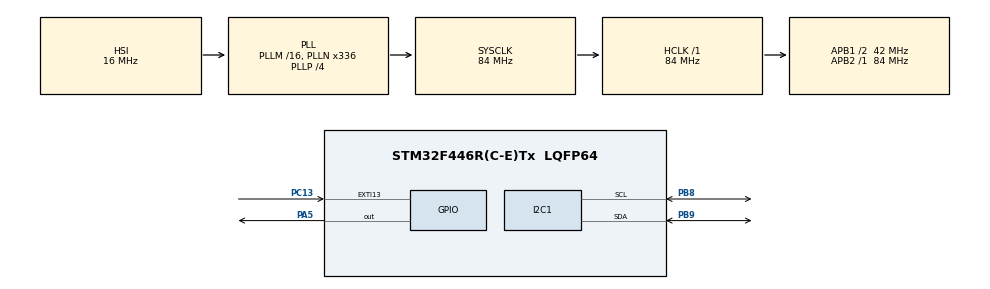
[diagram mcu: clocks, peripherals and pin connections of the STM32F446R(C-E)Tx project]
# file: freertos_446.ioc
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FREERTOS.Tasks01=defaultTask,24,128,StartDefaultTask,Default,NULL,Dynamic,NULL,NULL
Mcu.Family=STM32F4
Mcu.Name=STM32F446R(C-E)Tx
Mcu.Package=LQFP64
NUCLEO-F446RE.BUTTON=1
NUCLEO-F446RE.LD1=true
NVIC.EXTI15_10_IRQn=true\:5\:0\:false\:false\:true\:true\:false\:true\:true
NVIC.PriorityGroup=NVIC_PRIORITYGROUP_4
NVIC.TIM6_DAC_IRQn=true\:15\:0\:false\:false\:true\:false\:false\:true\:true
NVIC.TimeBase=TIM6_DAC_IRQn
NVIC.TimeBaseIP=TIM6
PA13.GPIO_Label=TMS
PA13.Signal=SYS_JTMS-SWDIO
PA14.GPIO_Label=TCK
PA14.Signal=SYS_JTCK-SWCLK
PA2.GPIO_Label=USART_TX
PA2.Signal=USART2_TX
PA3.GPIO_Label=USART_RX
PA3.Signal=USART2_RX
PA5.Signal=GPIO_Output
PB3.GPIO_Label=SWO
PB3.Signal=SYS_JTDO-SWO
PB8.Mode=I2C
PB8.Signal=I2C1_SCL
PB9.Mode=I2C
PB9.Signal=I2C1_SDA
PC13.Signal=GPXTI13
PC14-OSC32_IN.Signal=RCC_OSC32_IN
PC15-OSC32_OUT.Signal=RCC_OSC32_OUT
PH0-OSC_IN.Signal=RCC_OSC_IN
PH1-OSC_OUT.Signal=RCC_OSC_OUT
ProjectManager.HeapSize=0x200
ProjectManager.StackSize=0x400
ProjectManager.TargetToolchain=Makefile
RCC.AHBFreq_Value=84000000
RCC.APB1CLKDivider=RCC_HCLK_DIV2
RCC.APB1Freq_Value=42000000
RCC.APB1TimFreq_Value=84000000
RCC.APB2Freq_Value=84000000
RCC.APB2TimFreq_Value=84000000
RCC.CortexFreq_Value=84000000
RCC.FLatency-AdvancedSettings=FLASH_LATENCY_2
RCC.HCLKFreq_Value=84000000
RCC.HSE_VALUE=8000000
RCC.HSI_VALUE=16000000
RCC.LSE_VALUE=32768
RCC.PLLN=336
RCC.PLLP=RCC_PLLP_DIV4
RCC.SYSCLKFreq_VALUE=84000000
RCC.SYSCLKSource=RCC_SYSCLKSOURCE_PLLCLK
RCC.USBFreq_Value=168000000
RCC.VCOOutputFreq_Value=336000000
VP_FREERTOS_VS_CMSIS_V2.Mode=CMSIS_V2
VP_NUCLEO-F446RE_VS_BSP_COMMON.Mode=COMMON
VP_SYS_VS_tim6.Mode=TIM6
board=NUCLEO-F446RE

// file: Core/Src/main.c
/* USER CODE BEGIN Header */
/**
 ******************************************************************************
 * @file           : main.c
 * @brief          : Main program body
 ******************************************************************************
 * @attention
 *
 * Copyright (c) 2026 STMicroelectronics.
 * All rights reserved.
 *
 * This software is licensed under terms that can be found in the LICENSE file
 * in the root directory of this software component.
 * If no LICENSE file comes with this software, it is provided AS-IS.
 *
 ******************************************************************************
 */
/* USER CODE END Header */
#include "main.h"
#include "cmsis_os.h"

/* USER CODE BEGIN Includes */

// FreeRTOS includes
#include "FreeRTOS.h"
#include "task.h"
#include "queue.h"
#include "semphr.h"

// Handlers
#include "btn_handler.h"

// Services
#include "monitor_service.h"
#include "watchdog_service.h"
#include "i2c_bus.h"
#include "bmp280_service.h"
#include "ui_state.h"
#include "fault_diag.h"

// Tasks
#include "watchdog_task.h"
#include "gatekeeper_task.h"
#include "bmp_task.h"
#include "page_task.h"
#include "bmp_print_task.h"
#include "gyro_print_task.h"
#include "gyro_task.h"

// STD
#include <stdio.h>
#include <stdint.h>
#include <string.h>
/* USER CODE END Includes */

I2C_HandleTypeDef hi2c1;

/* Definitions for defaultTask */
osThreadId_t defaultTaskHandle;
const osThreadAttr_t defaultTask_attributes = {
    .name = "defaultTask",
    .stack_size = 128 * 4,
    .priority = (osPriority_t)osPriorityNormal,
};
/* USER CODE BEGIN PV */
SemaphoreHandle_t hi2c_mutex;

/* USER CODE END PV */

void SystemClock_Config(void);
static void MX_GPIO_Init(void);
static void MX_I2C1_Init(void);
void StartDefaultTask(void *argument);

int main(void)
{

  /* MCU Configuration--------------------------------------------------------*/

  /* Reset of all peripherals, Initializes the Flash interface and the Systick. */
  HAL_Init();

  /* Configure the system clock */
  SystemClock_Config();

  /* Initialize all configured peripherals */
  MX_GPIO_Init();
  MX_I2C1_Init();
/* USER CODE BEGIN 2 */

// For jitter_testing we open PA6 and PA7 for GPIO_OUTPUT.
#ifdef DIAG
  __HAL_RCC_GPIOA_CLK_ENABLE();
  GPIO_InitTypeDef mark = {0};
  mark.Pin = GPIO_PIN_6 | GPIO_PIN_7 | GPIO_PIN_8;
  mark.Mode = GPIO_MODE_OUTPUT_PP;
  mark.Pull = GPIO_NOPULL;
  mark.Speed = GPIO_SPEED_FREQ_VERY_HIGH;
  HAL_GPIO_Init(GPIOA, &mark);
#endif

  // BMP_PRINT_TASK INIT (data)
  int32_t bmp_p_1 = watchdog_add_task(bmp_print_task_watchdogMIN_TIME_MS, bmp_print_task_watchdogMAX_TIME_MS, "bmpPrintTask1");
  uint32_t bmp_p_g_1 = 0;
  static BmpPrintTaskConfig_t bmp_p_data1 = {
      .function = bmp_service_get_temperature,
      "C"};
  bmp_p_data1.task_id_gatekeeper = bmp_p_g_1;
  bmp_p_data1.watchdog_id = bmp_p_1;

  int32_t bmp_p_2 = watchdog_add_task(bmp_print_task_watchdogMIN_TIME_MS, bmp_print_task_watchdogMAX_TIME_MS, "bmpPrintTask2");
  uint32_t bmp_p_g_2 = 1;
  static BmpPrintTaskConfig_t bmp_p_data2 = {
      .function = bmp_service_get_pressure,
      "hPa"};
  bmp_p_data2.task_id_gatekeeper = bmp_p_g_2;
  bmp_p_data2.watchdog_id = bmp_p_2;

  int32_t bmp_p_3 = watchdog_add_task(bmp_print_task_watchdogMIN_TIME_MS, bmp_print_task_watchdogMAX_TIME_MS, "bmpPrintTask3");
  uint32_t bmp_p_g_3 = 2;
  static BmpPrintTaskConfig_t bmp_p_data3 = {
      .function = bmp_service_get_altitude,
      "m"};
  bmp_p_data3.task_id_gatekeeper = bmp_p_g_3;
  bmp_p_data3.watchdog_id = bmp_p_3;

  // GYRO_PRINT_TASK INIT (data)
  int32_t gyro_p_1 = watchdog_add_task(gyro_print_task_watchdogMIN_TIME_MS, gyro_print_task_watchdogMAX_TIME_MS, "gyroPrintTask1");
  uint32_t gyro_p_g_1 = gatekeeperMAX_TASK_PER_PAGE; // 2nd page
  static GyroPrintTaskConfig_t gyro_p_data1;
  gyro_p_data1.watchdog_id = gyro_p_1;
  gyro_p_data1.task_id_gatekeeper = gyro_p_g_1;
  gyro_p_data1.data_axis = X;

  int32_t gyro_p_2 = watchdog_add_task(gyro_print_task_watchdogMIN_TIME_MS, gyro_print_task_watchdogMAX_TIME_MS, "gyroPrintTask2");
  uint32_t gyro_p_g_2 = gatekeeperMAX_TASK_PER_PAGE + 1;
  static GyroPrintTaskConfig_t gyro_p_data2;
  gyro_p_data2.watchdog_id = gyro_p_2;
  gyro_p_data2.task_id_gatekeeper = gyro_p_g_2;
  gyro_p_data2.data_axis = Y;

  int32_t gyro_p_3 = watchdog_add_task(gyro_print_task_watchdogMIN_TIME_MS, gyro_print_task_watchdogMAX_TIME_MS, "gyroPrintTask3");
  uint32_t gyro_p_g_3 = gatekeeperMAX_TASK_PER_PAGE + 2;
  static GyroPrintTaskConfig_t gyro_p_data3;
  gyro_p_data3.watchdog_id = gyro_p_3;
  gyro_p_data3.task_id_gatekeeper = gyro_p_g_3;
  gyro_p_data3.data_axis = Z;

  // GATEKEEPER_TASK INIT
  int32_t gtk_id = watchdog_add_task(gatekeeper_watchdogMIN_TIME, gatekeeper_watchdogMAX_TIME, "gatekeeperTASK");
  static GatekeeperTaskConfig_t gdata = {
      .task_names = {"Temp", "Pres", "Alti", "\0", "\0", "X", "Y", "Z"}};
  gdata.watchdog_id = gtk_id;

  // BMP_TASK INIT
  int32_t bmp_id = watchdog_add_task(bmp_task_watchdogMIN_TIME_MS, bmp_task_watchdogMAX_TIME_MS, "bmpTASK");
  static BmpTaskConfig_t bdata;
  bdata.watchdog_id = bmp_id;

  // GYRO_TASK INIT
  int32_t gyro_id = watchdog_add_task(gyro_task_watchdogMIN_TIME_MS, gyro_task_watchdogMAX_TIME_MS, "gyroTASK");
  static GyroTaskConfig_t gyro_data;
  gyro_data.watchdog_id = gyro_id;

  // WATCHDOG_TASK INIT
  static WatchdogTaskMapping_t temp_tasks[watchdogMAX_MONITORED_TASKS];
  static WatchdogConfig_t wdata;

  temp_tasks[0].task_watchdog_id = bmp_id;
  temp_tasks[0].task_gatekeeper_id = gatekeeperMAX_TASK_PER_PAGE * 2;

  temp_tasks[1].task_watchdog_id = gyro_id;
  temp_tasks[1].task_gatekeeper_id = (gatekeeperMAX_TASK_PER_PAGE * 2) + 1;

  memcpy(wdata.mon_tasks, temp_tasks, sizeof(temp_tasks));
  wdata.task_count = 2;

  // SERVICES INIT
  watchdog_init();
  fault_diag_init();
  monitor_init(&hi2c1);
  bmp_service_init(&hi2c1);
  gyro_service_init(&hi2c1);

  // TASK CREATION
  xTaskCreate(watchdog_task, "watchdogTASK", 96, &wdata, 10, NULL);     // Watchdog task
  xTaskCreate(bmp_task, "bmpTASK", 160, &bdata, 6, NULL);               // Refresh bmp-data
  xTaskCreate(page_task, "pagehandlerTASK", 96, NULL, 1, NULL);         // Task-Handler for button
  xTaskCreate(gyro_task, "gyroTASK", 160, &gyro_data, 6, NULL);         // Refresh gyro-data
  xTaskCreate(gatekeeper_task, "gatekeeperTASK", 360, &gdata, 2, NULL); // Display gatekeeper

  xTaskCreate(bmp_print_task, "bmpPrintTask1", 224, &bmp_p_data1, 1, NULL);
  xTaskCreate(bmp_print_task, "bmpPrintTask2", 224, &bmp_p_data2, 1, NULL);
  xTaskCreate(bmp_print_task, "bmpPrintTask3", 224, &bmp_p_data3, 1, NULL);

  xTaskCreate(gyro_print_task, "gyroPrintTask1", 224, &gyro_p_data1, 1, NULL);
  xTaskCreate(gyro_print_task, "gyroPrintTask2", 224, &gyro_p_data2, 1, NULL);
  xTaskCreate(gyro_print_task, "gyroPrintTask3", 224, &gyro_p_data3, 1, NULL);

  /* USER CODE END 2 */

  /* Init scheduler */
  osKernelInitialize();

  /* USER CODE BEGIN RTOS_SEMAPHORES */
  i2c_mutex_init();
  /* add semaphores, ... */
  /* USER CODE END RTOS_SEMAPHORES */

  /* USER CODE BEGIN RTOS_QUEUES */
  gatekeeper_init_queue();
  /* add queues, ... */
  /* USER CODE END RTOS_QUEUES */

  /* Create the thread(s) */
  /* creation of defaultTask */
  defaultTaskHandle = osThreadNew(StartDefaultTask, NULL, &defaultTask_attributes);

  /* Initialize leds */
  BSP_LED_Init(LED2);

  /* Initialize USER push-button, will be used to trigger an interrupt each time it's pressed.*/
  BSP_PB_Init(BUTTON_USER, BUTTON_MODE_EXTI);

  /* Start scheduler */
  osKernelStart();

  /* We should never get here as control is now taken by the scheduler */

  /* Infinite loop */
  while (1)
  {

  }
}

void SystemClock_Config(void)
{
  RCC_OscInitTypeDef RCC_OscInitStruct = {0};
  RCC_ClkInitTypeDef RCC_ClkInitStruct = {0};

  /** Configure the main internal regulator output voltage
   */
  __HAL_RCC_PWR_CLK_ENABLE();
  __HAL_PWR_VOLTAGESCALING_CONFIG(PWR_REGULATOR_VOLTAGE_SCALE3);

  /** Initializes the RCC Oscillators according to the specified parameters
   * in the RCC_OscInitTypeDef structure.
   */
  RCC_OscInitStruct.OscillatorType = RCC_OSCILLATORTYPE_HSI;
  RCC_OscInitStruct.HSIState = RCC_HSI_ON;
  RCC_OscInitStruct.HSICalibrationValue = RCC_HSICALIBRATION_DEFAULT;
  RCC_OscInitStruct.PLL.PLLState = RCC_PLL_ON;
  RCC_OscInitStruct.PLL.PLLSource = RCC_PLLSOURCE_HSI;
  RCC_OscInitStruct.PLL.PLLM = 16;
  RCC_OscInitStruct.PLL.PLLN = 336;
  RCC_OscInitStruct.PLL.PLLP = RCC_PLLP_DIV4;
  RCC_OscInitStruct.PLL.PLLQ = 2;
  RCC_OscInitStruct.PLL.PLLR = 2;
  if (HAL_RCC_OscConfig(&RCC_OscInitStruct) != HAL_OK)
  {
    Error_Handler();
  }

  /** Initializes the CPU, AHB and APB buses clocks
   */
  RCC_ClkInitStruct.ClockType = RCC_CLOCKTYPE_HCLK | RCC_CLOCKTYPE_SYSCLK | RCC_CLOCKTYPE_PCLK1 | RCC_CLOCKTYPE_PCLK2;
  RCC_ClkInitStruct.SYSCLKSource = RCC_SYSCLKSOURCE_PLLCLK;
  RCC_ClkInitStruct.AHBCLKDivider = RCC_SYSCLK_DIV1;
  RCC_ClkInitStruct.APB1CLKDivider = RCC_HCLK_DIV2;
  RCC_ClkInitStruct.APB2CLKDivider = RCC_HCLK_DIV1;

  if (HAL_RCC_ClockConfig(&RCC_ClkInitStruct, FLASH_LATENCY_2) != HAL_OK)
  {
    Error_Handler();
  }
}

static void MX_I2C1_Init(void)
{

  hi2c1.Instance = I2C1;
  hi2c1.Init.ClockSpeed = 400000;
  hi2c1.Init.DutyCycle = I2C_DUTYCYCLE_2;
  hi2c1.Init.OwnAddress1 = 0;
  hi2c1.Init.AddressingMode = I2C_ADDRESSINGMODE_7BIT;
  hi2c1.Init.DualAddressMode = I2C_DUALADDRESS_DISABLE;
  hi2c1.Init.OwnAddress2 = 0;
  hi2c1.Init.GeneralCallMode = I2C_GENERALCALL_DISABLE;
  hi2c1.Init.NoStretchMode = I2C_NOSTRETCH_DISABLE;
  if (HAL_I2C_Init(&hi2c1) != HAL_OK)
  {
    Error_Handler();
  }
}

static void MX_GPIO_Init(void)
{
  GPIO_InitTypeDef GPIO_InitStruct = {0};

  /* GPIO Ports Clock Enable */
  __HAL_RCC_GPIOC_CLK_ENABLE();
  __HAL_RCC_GPIOH_CLK_ENABLE();
  __HAL_RCC_GPIOA_CLK_ENABLE();
  __HAL_RCC_GPIOB_CLK_ENABLE();

  /*Configure GPIO pins : USART_TX_Pin USART_RX_Pin */
  GPIO_InitStruct.Pin = USART_TX_Pin | USART_RX_Pin;
  GPIO_InitStruct.Mode = GPIO_MODE_AF_PP;
  GPIO_InitStruct.Pull = GPIO_NOPULL;
  GPIO_InitStruct.Speed = GPIO_SPEED_FREQ_VERY_HIGH;
  GPIO_InitStruct.Alternate = GPIO_AF7_USART2;
  HAL_GPIO_Init(GPIOA, &GPIO_InitStruct);

}

void StartDefaultTask(void *argument)
{
  for (;;)
  {
    osDelay(1);
  }
}

void HAL_TIM_PeriodElapsedCallback(TIM_HandleTypeDef *htim)
{
  if (htim->Instance == TIM6)
  {
    HAL_IncTick();
  }
}

void Error_Handler(void)
{
  __disable_irq();
  while (1)
  {
  }
}
